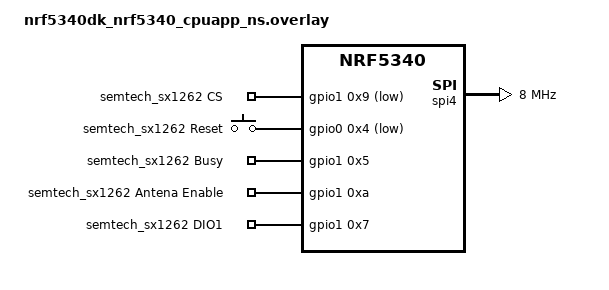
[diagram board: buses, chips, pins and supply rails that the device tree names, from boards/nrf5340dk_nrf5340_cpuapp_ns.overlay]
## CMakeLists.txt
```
#
# Copyright (c) 2023 Nordic Semiconductor ASA
#
# SPDX-License-Identifier: LicenseRef-Nordic-5-Clause
#

cmake_minimum_required(VERSION 3.20.0)

set(hci_rpmsg_KCONFIG_ROOT ${CMAKE_CURRENT_SOURCE_DIR}/child_image/hci_rpmsg/Kconfig.root)

find_package(Zephyr REQUIRED HINTS $ENV{ZEPHYR_BASE})
project(sidewalk_template)

set(SIDEWALK_BASE $ENV{ZEPHYR_BASE}/../sidewalk)

zephyr_include_directories(src)
zephyr_include_directories(${SIDEWALK_BASE}/samples/common/include)
zephyr_include_directories(${SIDEWALK_BASE}/utils)

target_sources(app PRIVATE
  src/main.c
  src/sid_dut_shell.c
  src/sid_thread.c
  ${SIDEWALK_BASE}/utils/sid_api_delegated.c
)
```

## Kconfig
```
#
# Copyright (c) 2023 Nordic Semiconductor ASA
#
# SPDX-License-Identifier: LicenseRef-Nordic-5-Clause
#

config MAIN_STACK_SIZE
    default 2048

config SIDEWALK_DUT_CLI
	bool "Enable sidewalk CLI"
  	default y
	imply SHELL

config SIDEWALK_GPIO
	default y

config SIDEWALK_SPI_BUS
	default y

config SIDEWALK_TEMPERATURE
	default y

choice SIDEWALK_LINK_MASK
	default SIDEWALK_LINK_MASK_FSK
endchoice

config SHELL_CMD_BUFF_SIZE
	default 1024

config SHELL_BACKEND_SERIAL_TX_RING_BUFFER_SIZE
	default 128

config SHELL_BACKEND_SERIAL_RX_RING_BUFFER_SIZE
	default 1024

source "${ZEPHYR_BASE}/../sidewalk/samples/common/Kconfig.defconfig"

source "Kconfig.zephyr"
```

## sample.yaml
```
sample:
  name: Sidewalk API test applicaiton
  description: Sample that uses shell to invoke sidewalk api functions
tests:
  sample.sidewalk.sid_dut:
    build_only: true
    platform_allow: nrf52840dk_nrf52840 nrf5340dk_nrf5340_cpuapp nrf5340dk_nrf5340_cpuapp_ns
    integration_platforms:
      - nrf52840dk_nrf52840
      - nrf5340dk_nrf5340_cpuapp
      - nrf5340dk_nrf5340_cpuapp_ns
    tags: Sidewalk

  functional.sidewalk.sid_dut_functional:
    platform_allow: nrf52840dk_nrf52840 nrf5340dk_nrf5340_cpuapp nrf5340dk_nrf5340_cpuapp_ns
    timeout: 6000
    harness: pytest
    harness_config:
      # Sidewalk_dut fixture require Semtech SX12XX module connected to DK,
      # and working Amazone Echo.
      fixture: AmazonEcho+Semtech
      pytest_args: ['--log-level=INFO', '--exitfirst', '-k', 'test_functional.py']
```

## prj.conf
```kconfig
#
# Copyright (c) 2023 Nordic Semiconductor ASA
#
# SPDX-License-Identifier: LicenseRef-Nordic-5-Clause
#

# Sidewalk
CONFIG_SIDEWALK=y


# This sample do not require DFU, disable it
CONFIG_SIDEWALK_DFU=n

# Logs
CONFIG_SIDEWALK_BLE_ADAPTER_LOG_LEVEL_DBG=y

CONFIG_NVS_LOG_LEVEL_WRN=y
CONFIG_LOG_PRINTK=y

# Bluetooth
CONFIG_BT_DEVICE_NAME="Sid dut"

# Debug
CONFIG_RESET_ON_FATAL_ERROR=n
CONFIG_THREAD_NAME=y
CONFIG_THREAD_MONITOR=y
CONFIG_THREAD_STACK_INFO=y

# Use HW crypto
CONFIG_HW_CC3XX=y
CONFIG_PSA_CRYPTO_DRIVER_CC3XX=y
CONFIG_MBEDTLS_HEAP_SIZE=1024

CONFIG_NVS_LOOKUP_CACHE=y
CONFIG_NVS_LOOKUP_CACHE_SIZE=1024

CONFIG_SPIN_VALIDATE=n

# Disable additional data buffering in SPI driver.
CONFIG_SPI_NRFX_RAM_BUFFER_SIZE=0

CONFIG_SIDEWALK_ON_DEV_CERT=y
```

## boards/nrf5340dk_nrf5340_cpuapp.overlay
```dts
/*
 * Copyright (c) 2023 Nordic Semiconductor ASA
 *
 * SPDX-License-Identifier: LicenseRef-Nordic-5-Clause
 */

sid_semtech: &arduino_spi {
	compatible = "nordic,nrf-spim";
	status = "okay";
	pinctrl-names = "default", "sleep";
	clock-frequency = <DT_FREQ_M(8)>;
};
```

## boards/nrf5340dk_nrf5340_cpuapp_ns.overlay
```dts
/*
 * Copyright (c) 2023 Nordic Semiconductor ASA
 *
 * SPDX-License-Identifier: LicenseRef-Nordic-5-Clause
 */

#include <zephyr/dt-bindings/ipc_service/static_vrings.h>

&ipc0 {
    zephyr,priority = <0 PRIO_COOP>;
};

 sid_semtech: &spi4 {
	compatible = "nordic,nrf-spim";
	status = "okay";
	pinctrl-0 = <&spi4_default>;
	pinctrl-1 = <&spi4_sleep>;
	pinctrl-names = "default", "sleep";
	clock-frequency = <DT_FREQ_M(8)>;
};

/{

	semtech_sx1262_gpios{
		compatible = "gpio-keys";
	   semtech_sx1262_cs: cs {
		   gpios = <&gpio1 0x9 GPIO_ACTIVE_LOW>;
		   label = "semtech_sx1262 CS";
	   };
		semtech_sx1262_reset_gpios: reset {
		   gpios = <&gpio0 0x4 GPIO_ACTIVE_LOW>;
		   label = "semtech_sx1262 Reset";
	   };
	   semtech_sx1262_busy_gpios: busy {
		   gpios = <&gpio1 0x5 GPIO_ACTIVE_HIGH>;
		   label = "semtech_sx1262 Busy";
	   };
	   semtech_sx1262_antenna_enable_gpios: antena_enable {
		   gpios = <&gpio1 0xa GPIO_ACTIVE_HIGH>;
		   label = "semtech_sx1262 Antena Enable";
	   };
	   semtech_sx1262_dio1_gpios: dio1 {
		   gpios = <&gpio1 0x7 GPIO_ACTIVE_HIGH>;
		   label = "semtech_sx1262 DIO1";
	   };
	};
};
```

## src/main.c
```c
/*
 * Copyright (c) 2023 Nordic Semiconductor ASA
 *
 * SPDX-License-Identifier: LicenseRef-Nordic-5-Clause
 */

#include <zephyr/logging/log.h>

#include <sidewalk_version.h>

#include <sid_error.h>
#include <sid_dut_shell.h>
#include <sid_thread.h>

LOG_MODULE_REGISTER(sid_main, LOG_LEVEL_INF);

int main(void)
{
	PRINT_SIDEWALK_VERSION();

	initialize_sidewalk_shell(sid_thread_get_config(), sid_thread_get_app_context());

	sid_error_t e = sid_thread_init();

	if (e != SID_ERROR_NONE) {
		LOG_ERR("sidwalk failed to initialize with error (sid_error_t) %d", e);
	}

	return 0;
}
```

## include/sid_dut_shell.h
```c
/*
 * Copyright (c) 2023 Nordic Semiconductor ASA
 *
 * SPDX-License-Identifier: LicenseRef-Nordic-4-Clause
 */

#ifndef SID_DUT_SHELL_H
#define SID_DUT_SHELL_H

#include <stdint.h>
#include <zephyr/shell/shell.h>
#include <sid_thread.h>
#include <sid_api.h>

#define CMD_SID_INIT_DESCRIPTION "<1,2,3,4,5>\n"																	    \
	"initialize the sidewalk stack, 1 is SID_LINK_TYPE_1 (BLE), 2 is SID_LINK_TYPE_2 (FSK), 3 is SID_LINK_TYPE_3 (LORA) 4 is SID_LINK_TYPE_1 | SID_LINK_TYPE_3 (BLE + LORA),  5 is SID_LINK_TYPE_1 | SID_LINK_TYPE_2 (BLE + FSK).\n" \
	"This calls the sid_init() API."

#define CMD_SID_DEINIT_DESCRIPTION "\n"	\
	"deinitialize the sidewalk stack, calls sid_deinit() API"

#define CMD_SID_START_DESCRIPTION "<link>\n"		     \
	"start the sidewalk stack, calls sid_start() API.\n" \
	"link value is optional, it can take the same values as for sid init command. If link value is not present the one set with sid init will be used to call sid_start api."

#define CMD_SID_STOP_DESCRIPTION "<link>\n"		   \
	"stop the sidewalk stack, calls sid_stop() API.\n" \
	"link value is optional, it can take the same values as for sid init command. If link value is not present the one set with sid init will be used to call sid_stop api."

#define CMD_SID_SEND_DESCRIPTION "-t <tv> -d <dv> -l <lm> -i <id> -a <ack> <retry> <ttl> -r <data>\n"												     \
	"send data over the SID_LINK_TYPE selected, calls the sid_put_msg()API.\n"														     \
	"Data field must always be placed at the end of command patametrs. If -r parameter is not preset data filed is treated as ascii. Example usage:\n"					     \
	"    - sid send TEST\n"																					     \
	"    - sid send -t 0 -d 2 TEST\n"																			     \
	"    - sid send -t 1 -d 1 -r 01AAFF02\n"																		     \
	"Optional parametrs:\n"																					     \
	"- t option force specific message type to be set in message descriptor possible <tv> values:\n"											     \
	"0 - SID_MSG_TYPE_GET\n"																				     \
	"1 - SID_MSG_TYPE_SET\n"																				     \
	"2 - SID_MSG_TYPE_NOTIFY\n"																				     \
	"3 - SID_MSG_TYPE_RESPONSE\n"																				     \
	"If -t option is not used message type in message descriptor will be set to SID_MSG_TYPE_NOTIFY.\n"											     \
	"If message type is set to RESPONSE type ID for outgoing message will be set with value that was previously received with GET type message. Or it can be set with sid set_rsp_id command.\n" \
	"- d specifies the destination\n"																			     \
	"possible <dv> values:\n"																				     \
	"1 - SID_LINK_MODE_CLOUD\n"																				     \
	"2 - SID_LINK_MODE_MOBILE\n"																				     \
	"If -d option is not used link_mode in message descriptor will be set to SID_LINK_MODE_CLOUD.\n"											     \
	"- l link mask on which message should be sent, if not set LINK_TYPE_ANY will be used\n"												     \
	"	<lm> link mask - for possible values see 'sid init' command\n"															     \
	"- i message id that needs to be used to send response. Valid only for messages of type response\n"											     \
	"	<id> response id\n"																				     \
	"- r data is interpreted hex string e.g. 010203AAFF\n"																	     \
	"- a configure parameters for transport ack:\n"																		     \
	"	<ack> - enable/disable ACK\n"																			     \
	"		1 - enable ACK\n"																			     \
	"		0 - disable ACK\n"																			     \
	"	<retry> - number of retry. 0 ~ 255\n"																		     \
	"	<ttl> - total seconds the stack holds the message in its queue. 0 ~ 65535"

#define CMD_SID_FACTORY_RESET_DESCRIPTION "\n" \
	"factory reset the board, deleting all registration status. This calls the sid_set_factory_reset() API."

#define CMD_SID_GET_MTU_DESCRIPTION "<1,2,3>\n"	\
	"get the MTU for the selected link type, 1 is SID_LINK_TYPE_1 (BLE), 2 is SID_LINK_TYPE_2 (FSK), 3 is SID_LINK_TYPE_3 (LORA). This calls the sid_get_mtu() API."

#define CMD_SID_SET_OPTION_DESCRIPTION "<option> <val1>...<valN>\n"													    \
	"Set link options. This calls the sid_option() API. Possible inputs for  \"<option> <val1>...<valN>\" are as follows:\n"					    \
	"\"-b <batlevel>\" - for setting battery level for SID_LINK_TYPE_1. Not supported for other link types.\n"							    \
	"	<batlevel> - (uint8) battery level.\n"															    \
	"\"-lp_set <val1> .. <valN>\" -  sets SID_LINK_TYPE_2 and SID_LINK_TYPE_3 (900 MHz) link profile and related parameters.\n"					    \
	"\"-lp_set 1\" - for SID_LINK2_PROFILE_1\".\n"															    \
	"\"-lp_set 2 <rx_int>\" - for SID_LINK2_PROFILE_2 with optional rx_int parameter\".\n"										    \
	"	<rx_int> Specifies DL interval between rx opportunities in units of ms. The value must be a multiple of 63ms. When ommitted the default value of 63ms is used.\n"\
	"\"-lp_set 0x80 <rxwc>\" - for SID_LINK3_PROFILE_A, where <rxwc> is the rx_window count parameter.\n"								    \
	"\"-lp_set 0x81 <rxwc>\" - for SID_LINK3_PROFILE_B, where <rxwc> is the rx_window count parameter.\n"								    \
	"\"-lp_set 0x83 <rxwc>\" - for SID_LINK3_PROFILE_D, where <rxwc> is the rx_window count parameter.\n"								    \
	"	<rxwc> - (uint8) rx window count. 0 represents infinite windows.\n"											    \
	"\"-lp_get_l2\" - Gets link profile and associated parameters for SID_LINK_TYPE_2. Ex: \"app: CMD: ERR: 0 Link_profile ID: 1 Wndw_cnt: 0\".\n"			    \
	"\"-lp_get_l3\" - Gets link profile and associated parameters for SID_LINK_TYPE_3. Ex: \"app: CMD: ERR: 0 Link_profile ID: 128 Wndw_cnt: 5\"."			    \
	"\"-d <0,1>\" - filter duplicate message.\n"															    \
	"   0 - filter duplicate message.\n"																    \
	"   1 - don't filter duplicate message and notify to user."													    \
	"\"-gd\" - Get filter duplicates configuration. Ex: \"app: CMD: ERR: 0 Filter Duplicates: 0\""

#define CMD_SID_LAST_STATUS_DESCRIPTION "\n" \
	"get last status of Sidewalk library. Result is printed in the same format as EVENT SID STATUS. This call the sid_get_status() API."

#define CMD_SID_CONN_REQUEST_DESCRIPTION "<0,1>\n"		 \
	"set the connection request bit in BLE beacon,\n"	 \
	"1 - set connection request bit\n"			 \
	"0 - clear connection request bit\n"			 \
	"This calls the sid_ble_bcn_connection_request() API.\n" \


#define CMD_SID_GET_TIME_DESCRIPTION "<0-2>\n"	      \
	"get time from Sidewalk library,\n"	      \
	"0 - GPS time\n"			      \
	"1 - UTC time (not supported by sid api)\n"   \
	"2 - Local time (not supported by sid api)\n" \
	"This calls the sid_get_time() API."

#define CMD_SID_SET_DST_ID_DESCRIPTION "<id>\n"	\
	"set message destination ID. This calls the sid_set_msg_dest_id() API."

#define CMD_SID_SET_SEND_LINK_DESCRIPTION "<link type>\n"									      \
	"set the link type that the message should be sent over. This is optional and only applies when multiple links are enabled\n" \
	"0 - SID_LINK_TYPE_ANY\n"												      \
	"1 - SID_LINK_TYPE_1 (BLE)\n"												      \
	"2 - SID_LINK_TYPE_2 (FSK)\n"												      \
	"3 - SID_LINK_TYPE_3 (LORA)"

#define CMD_SID_SET_RSP_ID_DESCRIPTION "<value>\n" \
	"allow the set ID for RESPONSE type message, this can be use before calling sid send command with message type set as RESPONSE."

#define CMD_SID_SDK_VERSION_DESCRIPTION "Print sid sdk version"

#define CMD_SID_SDK_CONFIG_DESCRIPTION "Print sid sdk config"

#define CMD_SID_INIT_ARG_REQUIRED 2
#define CMD_SID_INIT_ARG_OPTIONAL 0
#define CMD_SID_DEINIT_ARG_REQUIRED 1
#define CMD_SID_DEINIT_ARG_OPTIONAL 0
#define CMD_SID_START_ARG_REQUIRED 1
#define CMD_SID_START_ARG_OPTIONAL 1
#define CMD_SID_STOP_ARG_REQUIRED 1
#define CMD_SID_STOP_ARG_OPTIONAL 1
#define CMD_SID_SEND_ARG_REQUIRED 2
#define CMD_SID_SEND_ARG_OPTIONAL 13
#define CMD_SID_FACTORY_RESET_ARG_REQUIRED 1
#define CMD_SID_FACTORY_RESET_ARG_OPTIONAL 0
#define CMD_SID_GET_MTU_ARG_REQUIRED 2
#define CMD_SID_GET_MTU_ARG_OPTIONAL 0
#define CMD_SID_SET_OPTION_ARG_REQUIRED 2
#define CMD_SID_SET_OPTION_ARG_OPTIONAL 2
#define CMD_SID_LAST_STATUS_ARG_REQUIRED 1
#define CMD_SID_LAST_STATUS_ARG_OPTIONAL 0
#define CMD_SID_CONN_REQUEST_ARG_REQUIRED 2
#define CMD_SID_CONN_REQUEST_ARG_OPTIONAL 0
#define CMD_SID_GET_TIME_ARG_REQUIRED 2
#define CMD_SID_GET_TIME_ARG_OPTIONAL 0
#define CMD_SID_SET_DST_ID_ARG_REQUIRED 2
#define CMD_SID_SET_DST_ID_ARG_OPTIONAL 0
#define CMD_SID_SET_SEND_LINK_ARG_REQUIRED 2
#define CMD_SID_SET_SEND_LINK_ARG_OPTIONAL 0
#define CMD_SID_SET_RSP_ID_ARG_REQUIRED 2
#define CMD_SID_SET_RSP_ID_ARG_OPTIONAL 0
#define CMD_SID_SDK_VERSION_DESCRIPTION_ARG_REQUIRED 1
#define CMD_SID_SDK_VERSION_DESCRIPTION_ARG_OPTIONAL 0
#define CMD_SID_SDK_CONFIG_DESCRIPTION_ARG_REQUIRED 1
#define CMD_SID_SDK_CONFIG_DESCRIPTION_ARG_OPTIONAL 0

int cmd_sid_init(const struct shell *shell, int32_t argc, const char **argv);
int cmd_sid_deinit(const struct shell *shell, int32_t argc, const char **argv);
int cmd_sid_start(const struct shell *shell, int32_t argc, const char **argv);
int cmd_sid_stop(const struct shell *shell, int32_t argc, const char **argv);
int cmd_sid_send(const struct shell *shell, int32_t argc, const char **argv);
int cmd_sid_factory_reset(const struct shell *shell, int32_t argc, const char **argv);
int cmd_sid_get_mtu(const struct shell *shell, int32_t argc, const char **argv);

int cmd_sid_option_battery(const struct shell *shell, int32_t argc, const char **argv);
int cmd_sid_option_lp_set(const struct shell *shell, int32_t argc, const char **argv);
int cmd_sid_option_lp_get_l2(const struct shell *shell, int32_t argc, const char **argv);
int cmd_sid_option_lp_get_l3(const struct shell *shell, int32_t argc, const char **argv);
int cmd_sid_option_d(const struct shell *shell, int32_t argc, const char **argv);
int cmd_sid_option_gd(const struct shell *shell, int32_t argc, const char **argv);

int cmd_sid_last_status(const struct shell *shell, int32_t argc, const char **argv);
int cmd_sid_conn_request(const struct shell *shell, int32_t argc, const char **argv);
int cmd_sid_get_time(const struct shell *shell, int32_t argc, const char **argv);
int cmd_sid_set_dst_id(const struct shell *shell, int32_t argc, const char **argv);
int cmd_sid_set_send_link(const struct shell *shell, int32_t argc, const char **argv);
int cmd_sid_set_rsp_id(const struct shell *shell, int32_t argc, const char **argv);
int cmd_sid_sdk_version(const struct shell *shell, int32_t argc, const char **argv);
int cmd_sid_sdk_config(const struct shell *shell, int32_t argc, const char **argv);

struct cli_config {
	struct sid_config *sid_cfg;
	struct sid_handle** app_handler;
	enum sid_link_type send_link_type;
	uint16_t rsp_msg_id;
};

void initialize_sidewalk_shell(struct sid_config *sid_cfg, struct sid_handle** app_handler);

#endif /* SID_DUT_SHELL_H */
```

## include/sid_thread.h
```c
/*
 * Copyright (c) 2023 Nordic Semiconductor ASA
 *
 * SPDX-License-Identifier: LicenseRef-Nordic-4-Clause
 */
#ifndef SID_THREAD_H
#define SID_THREAD_H

#include <zephyr/kernel.h>
#include <sid_api.h>
#include <sid_error.h>

typedef struct sid_thread_ctx {
	struct k_work_q sidewalk_work_q;
	struct sid_handle *sidewalk_handle;
        struct sid_config sidewalk_config;
        struct k_work sidewalk_event_work;
}sid_thread_ctx_t;

/**
 * @brief Start Sidewalk work queue thread
 * 
 * @return struct k_work_q* work queue dedicated for Sidewalk calls
 */
struct k_work_q* sid_thread_init(void);

/**
 * @brief Get Sidewalk handler
 * 
 */
struct sid_handle** get_sidewalk_handle(void);

/**
 * @brief Get Sidewalk configuration
 * 
 */
struct sid_config *get_sidewalk_config(void);

#endif /* SID_THREAD_H */
```

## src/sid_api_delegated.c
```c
/*
 * Copyright (c) 2023 Nordic Semiconductor ASA
 *
 * SPDX-License-Identifier: LicenseRef-Nordic-5-Clause
 */

#include <zephyr/kernel.h>
#include <sid_api.h>
#include <sid_api_delegated.h>

struct sid_init_args {
	struct k_work work;
	struct k_sem completed;
	sid_error_t return_value;

	const struct sid_config *config;
	struct sid_handle **handle;
};

struct sid_deinit_args {
	struct k_work work;
	struct k_sem completed;
	sid_error_t return_value;

	struct sid_handle *handle;
};

struct sid_start_args {
	struct k_work work;
	struct k_sem completed;
	sid_error_t return_value;

	struct sid_handle *handle;
	uint32_t link_mask;
};
struct sid_stop_args {
	struct k_work work;
	struct k_sem completed;
	sid_error_t return_value;

	struct sid_handle *handle;
	uint32_t link_mask;
};

struct sid_put_msg_args {
	struct k_work work;
	struct k_sem completed;
	sid_error_t return_value;

	struct sid_handle *handle;
	const struct sid_msg *msg;
	struct sid_msg_desc *msg_desc;
};

struct sid_set_factory_reset_args {
	struct k_work work;
	struct k_sem completed;
	sid_error_t return_value;

	struct sid_handle *handle;
};

struct sid_get_mtu_args {
	struct k_work work;
	struct k_sem completed;
	sid_error_t return_value;

	struct sid_handle *handle;
	enum sid_link_type link_type;
	size_t *mtu;
};

struct sid_get_status_args {
	struct k_work work;
	struct k_sem completed;
	sid_error_t return_value;

	struct sid_handle *handle;
	struct sid_status *current_status;
};

struct sid_ble_bcn_connection_request_args {
	struct k_work work;
	struct k_sem completed;
	sid_error_t return_value;

	struct sid_handle *handle;
	bool set;
};

struct sid_get_time_args {
	struct k_work work;
	struct k_sem completed;
	sid_error_t return_value;

	struct sid_handle *handle;
	enum sid_time_format format;
	struct sid_timespec *curr_time;
};

struct sid_set_msg_dest_id_args {
	struct k_work work;
	struct k_sem completed;
	sid_error_t return_value;

	struct sid_handle *handle;
	uint32_t id;
};

struct sid_option_args {
	struct k_work work;
	struct k_sem completed;
	sid_error_t return_value;

	struct sid_handle *handle;
	enum sid_option option;
	void *data;
	size_t len;
};

struct sid_api_ctx {
	struct k_work_q *workq;

	struct sid_init_args sid_init_ctx;
	struct sid_deinit_args sid_deinit_ctx;
	struct sid_start_args sid_start_ctx;
	struct sid_stop_args sid_stop_ctx;
	struct sid_put_msg_args sid_put_msg_ctx;
	struct sid_set_factory_reset_args sid_set_factory_reset_ctx;
	struct sid_get_mtu_args sid_get_mtu_ctx;
	struct sid_get_status_args sid_get_status_ctx;
	struct sid_ble_bcn_connection_request_args sid_ble_bcn_connection_request_ctx;
	struct sid_get_time_args sid_get_time_ctx;
	struct sid_set_msg_dest_id_args sid_set_msg_dest_id_ctx;
	struct sid_option_args sid_option_ctx;
};

static struct sid_api_ctx ctx;

static void sid_init_delegated_work(struct k_work *work)
{
	struct sid_init_args *arguments = CONTAINER_OF(work, struct sid_init_args, work);

	arguments->return_value = sid_init(arguments->config, arguments->handle);
	k_sem_give(&arguments->completed);
}

static void sid_deinit_delegated_work(struct k_work *work)
{
	struct sid_deinit_args *arguments = CONTAINER_OF(work, struct sid_deinit_args, work);

	arguments->return_value = sid_deinit(arguments->handle);
	k_sem_give(&arguments->completed);
}

static void sid_start_delegated_work(struct k_work *work)
{
	struct sid_start_args *arguments = CONTAINER_OF(work, struct sid_start_args, work);

	arguments->return_value = sid_start(arguments->handle, arguments->link_mask);
	k_sem_give(&arguments->completed);
}

static void sid_stop_delegated_work(struct k_work *work)
{
	struct sid_stop_args *arguments = CONTAINER_OF(work, struct sid_stop_args, work);

	arguments->return_value = sid_stop(arguments->handle, arguments->link_mask);
	k_sem_give(&arguments->completed);
}

static void sid_put_msg_delegated_work(struct k_work *work)
{
	struct sid_put_msg_args *arguments = CONTAINER_OF(work, struct sid_put_msg_args, work);

	arguments->return_value =
		sid_put_msg(arguments->handle, arguments->msg, arguments->msg_desc);
	k_sem_give(&arguments->completed);
}

static void sid_set_factory_reset_delegated_work(struct k_work *work)
{
	struct sid_set_factory_reset_args *arguments =
		CONTAINER_OF(work, struct sid_set_factory_reset_args, work);

	arguments->return_value = sid_set_factory_reset(arguments->handle);
	k_sem_give(&arguments->completed);
}

static void sid_get_mtu_delegated_work(struct k_work *work)
{
	struct sid_get_mtu_args *arguments = CONTAINER_OF(work, struct sid_get_mtu_args, work);

	arguments->return_value =
		sid_get_mtu(arguments->handle, arguments->link_type, arguments->mtu);
	k_sem_give(&arguments->completed);
}

static void sid_get_status_delegated_work(struct k_work *work)
{
	struct sid_get_status_args *arguments =
		CONTAINER_OF(work, struct sid_get_status_args, work);

	arguments->return_value = sid_get_status(arguments->handle, arguments->current_status);
	k_sem_give(&arguments->completed);
}

static void sid_ble_bcn_connection_request_delegated_work(struct k_work *work)
{
	struct sid_ble_bcn_connection_request_args *arguments =
		CONTAINER_OF(work, struct sid_ble_bcn_connection_request_args, work);

	arguments->return_value = sid_ble_bcn_connection_request(arguments->handle, arguments->set);
	k_sem_give(&arguments->completed);
}

static void sid_get_time_delegated_work(struct k_work *work)
{
	struct sid_get_time_args *arguments = CONTAINER_OF(work, struct sid_get_time_args, work);

	arguments->return_value =
		sid_get_time(arguments->handle, arguments->format, arguments->curr_time);
	k_sem_give(&arguments->completed);
}

static void sid_set_msg_dest_id_delegated_work(struct k_work *work)
{
	struct sid_set_msg_dest_id_args *arguments =
		CONTAINER_OF(work, struct sid_set_msg_dest_id_args, work);

	arguments->return_value = sid_set_msg_dest_id(arguments->handle, arguments->id);
	k_sem_give(&arguments->completed);
}

static void sid_option_delegated_work(struct k_work *work)
{
	struct sid_option_args *arguments = CONTAINER_OF(work, struct sid_option_args, work);

	arguments->return_value =
		sid_option(arguments->handle, arguments->option, arguments->data, arguments->len);
	k_sem_give(&arguments->completed);
}

///////////////////////////////////////////////////////////////////////////////

sid_error_t sid_init_delegated(const struct sid_config *config, struct sid_handle **handle)
{
	while (k_work_busy_get(&ctx.sid_init_ctx.work) != 0) {
		k_sleep(K_MSEC(1));
	}
	ctx.sid_init_ctx.config = config;
	ctx.sid_init_ctx.handle = handle;
	k_work_submit_to_queue(ctx.workq, &ctx.sid_init_ctx.work);
	k_sem_take(&ctx.sid_init_ctx.completed, K_FOREVER);
	return ctx.sid_init_ctx.return_value;
}

sid_error_t sid_deinit_delegated(struct sid_handle *handle)
{
	while (k_work_busy_get(&ctx.sid_deinit_ctx.work) != 0) {
		k_sleep(K_MSEC(1));
	}

	ctx.sid_deinit_ctx.handle = handle;
	k_work_submit_to_queue(ctx.workq, &ctx.sid_deinit_ctx.work);
	k_sem_take(&ctx.sid_deinit_ctx.completed, K_FOREVER);
	return ctx.sid_deinit_ctx.return_value;
}

sid_error_t sid_start_delegated(struct sid_handle *handle, uint32_t link_mask)
{
	while (k_work_busy_get(&ctx.sid_start_ctx.work) != 0) {
		k_sleep(K_MSEC(1));
	}

	ctx.sid_start_ctx.handle = handle;
	ctx.sid_start_ctx.link_mask = link_mask;
	k_work_submit_to_queue(ctx.workq, &ctx.sid_start_ctx.work);
	k_sem_take(&ctx.sid_start_ctx.completed, K_FOREVER);
	return ctx.sid_start_ctx.return_value;
}

sid_error_t sid_stop_delegated(struct sid_handle *handle, uint32_t link_mask)
{
	while (k_work_busy_get(&ctx.sid_stop_ctx.work) != 0) {
		k_sleep(K_MSEC(1));
	}

	ctx.sid_stop_ctx.handle = handle;
	ctx.sid_stop_ctx.link_mask = link_mask;
	k_work_submit_to_queue(ctx.workq, &ctx.sid_stop_ctx.work);
	k_sem_take(&ctx.sid_stop_ctx.completed, K_FOREVER);
	return ctx.sid_stop_ctx.return_value;
}

sid_error_t sid_put_msg_delegated(struct sid_handle *handle, const struct sid_msg *msg,
				  struct sid_msg_desc *msg_desc)
{
	while (k_work_busy_get(&ctx.sid_put_msg_ctx.work) != 0) {
		k_sleep(K_MSEC(1));
	}

	ctx.sid_put_msg_ctx.handle = handle;
	ctx.sid_put_msg_ctx.msg = msg;
	ctx.sid_put_msg_ctx.msg_desc = msg_desc;
	k_work_submit_to_queue(ctx.workq, &ctx.sid_put_msg_ctx.work);
	k_sem_take(&ctx.sid_put_msg_ctx.completed, K_FOREVER);
	return ctx.sid_put_msg_ctx.return_value;
}

sid_error_t sid_set_factory_reset_delegated(struct sid_handle *handle)
{
	while (k_work_busy_get(&ctx.sid_set_factory_reset_ctx.work) != 0) {
		k_sleep(K_MSEC(1));
	}

	ctx.sid_set_factory_reset_ctx.handle = handle;
	k_work_submit_to_queue(ctx.workq, &ctx.sid_set_factory_reset_ctx.work);
	k_sem_take(&ctx.sid_set_factory_reset_ctx.completed, K_FOREVER);
	return ctx.sid_set_factory_reset_ctx.return_value;
}

sid_error_t sid_get_mtu_delegated(struct sid_handle *handle, enum sid_link_type link_type,
				  size_t *mtu)
{
	while (k_work_busy_get(&ctx.sid_get_mtu_ctx.work) != 0) {
		k_sleep(K_MSEC(1));
	}

	ctx.sid_get_mtu_ctx.handle = handle;
	ctx.sid_get_mtu_ctx.link_type = link_type;
	ctx.sid_get_mtu_ctx.mtu = mtu;
	k_work_submit_to_queue(ctx.workq, &ctx.sid_get_mtu_ctx.work);
	k_sem_take(&ctx.sid_get_mtu_ctx.completed, K_FOREVER);
	return ctx.sid_get_mtu_ctx.return_value;
}

sid_error_t sid_get_status_delegated(struct sid_handle *handle, struct sid_status *current_status)
{
	while (k_work_busy_get(&ctx.sid_get_status_ctx.work) != 0) {
		k_sleep(K_MSEC(1));
	}

	ctx.sid_get_status_ctx.handle = handle;
	ctx.sid_get_status_ctx.current_status = current_status;
	k_work_submit_to_queue(ctx.workq, &ctx.sid_get_status_ctx.work);
	k_sem_take(&ctx.sid_get_status_ctx.completed, K_FOREVER);
	return ctx.sid_get_status_ctx.return_value;
}

sid_error_t sid_ble_bcn_connection_request_delegated(struct sid_handle *handle, bool set)
{
	while (k_work_busy_get(&ctx.sid_ble_bcn_connection_request_ctx.work) != 0) {
		k_sleep(K_MSEC(1));
	}

	ctx.sid_ble_bcn_connection_request_ctx.handle = handle;
	ctx.sid_ble_bcn_connection_request_ctx.set = set;
	k_work_submit_to_queue(ctx.workq, &ctx.sid_ble_bcn_connection_request_ctx.work);
	k_sem_take(&ctx.sid_ble_bcn_connection_request_ctx.completed, K_FOREVER);
	return ctx.sid_ble_bcn_connection_request_ctx.return_value;
}

sid_error_t sid_get_time_delegated(struct sid_handle *handle, enum sid_time_format format,
				   struct sid_timespec *curr_time)
{
	while (k_work_busy_get(&ctx.sid_get_time_ctx.work) != 0) {
		k_sleep(K_MSEC(1));
	}

	ctx.sid_get_time_ctx.handle = handle;
	ctx.sid_get_time_ctx.format = format;
	ctx.sid_get_time_ctx.curr_time = curr_time;
	k_work_submit_to_queue(ctx.workq, &ctx.sid_get_time_ctx.work);
	k_sem_take(&ctx.sid_get_time_ctx.completed, K_FOREVER);
	return ctx.sid_get_time_ctx.return_value;
}

sid_error_t sid_set_msg_dest_id_delegated(struct sid_handle *handle, uint32_t id)
{
	while (k_work_busy_get(&ctx.sid_set_msg_dest_id_ctx.work) != 0) {
		k_sleep(K_MSEC(1));
	}

	ctx.sid_set_msg_dest_id_ctx.handle = handle;
	ctx.sid_set_msg_dest_id_ctx.id = id;
	k_work_submit_to_queue(ctx.workq, &ctx.sid_set_msg_dest_id_ctx.work);
	k_sem_take(&ctx.sid_set_msg_dest_id_ctx.completed, K_FOREVER);
	return ctx.sid_set_msg_dest_id_ctx.return_value;
}

sid_error_t sid_option_delegated(struct sid_handle *handle, enum sid_option option, void *data,
				 size_t len)
{
	while (k_work_busy_get(&ctx.sid_option_ctx.work) != 0) {
		k_sleep(K_MSEC(1));
	}

	ctx.sid_option_ctx.handle = handle;
	ctx.sid_option_ctx.option = option;
	ctx.sid_option_ctx.data = data;
	ctx.sid_option_ctx.len = len;
	k_work_submit_to_queue(ctx.workq, &ctx.sid_option_ctx.work);
	k_sem_take(&ctx.sid_option_ctx.completed, K_FOREVER);
	return ctx.sid_option_ctx.return_value;
}

void sid_api_delegated(struct k_work_q *workq)
{
	ctx.workq = workq;

	k_sem_init(&ctx.sid_init_ctx.completed, 0, 1);
	k_work_init(&ctx.sid_init_ctx.work, sid_init_delegated_work);
	k_sem_init(&ctx.sid_deinit_ctx.completed, 0, 1);
	k_work_init(&ctx.sid_deinit_ctx.work, sid_deinit_delegated_work);
	k_sem_init(&ctx.sid_start_ctx.completed, 0, 1);
	k_work_init(&ctx.sid_start_ctx.work, sid_start_delegated_work);
	k_sem_init(&ctx.sid_stop_ctx.completed, 0, 1);
	k_work_init(&ctx.sid_stop_ctx.work, sid_stop_delegated_work);
	k_sem_init(&ctx.sid_put_msg_ctx.completed, 0, 1);
	k_work_init(&ctx.sid_put_msg_ctx.work, sid_put_msg_delegated_work);
	k_sem_init(&ctx.sid_set_factory_reset_ctx.completed, 0, 1);
	k_work_init(&ctx.sid_set_factory_reset_ctx.work, sid_set_factory_reset_delegated_work);
	k_sem_init(&ctx.sid_get_mtu_ctx.completed, 0, 1);
	k_work_init(&ctx.sid_get_mtu_ctx.work, sid_get_mtu_delegated_work);
	k_sem_init(&ctx.sid_get_status_ctx.completed, 0, 1);
	k_work_init(&ctx.sid_get_status_ctx.work, sid_get_status_delegated_work);
	k_sem_init(&ctx.sid_ble_bcn_connection_request_ctx.completed, 0, 1);
	k_work_init(&ctx.sid_ble_bcn_connection_request_ctx.work,
		    sid_ble_bcn_connection_request_delegated_work);
	k_sem_init(&ctx.sid_get_time_ctx.completed, 0, 1);
	k_work_init(&ctx.sid_get_time_ctx.work, sid_get_time_delegated_work);
	k_sem_init(&ctx.sid_set_msg_dest_id_ctx.completed, 0, 1);
	k_work_init(&ctx.sid_set_msg_dest_id_ctx.work, sid_set_msg_dest_id_delegated_work);
	k_sem_init(&ctx.sid_option_ctx.completed, 0, 1);
	k_work_init(&ctx.sid_option_ctx.work, sid_option_delegated_work);
}
```

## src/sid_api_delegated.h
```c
/*
 * Copyright (c) 2023 Nordic Semiconductor ASA
 *
 * SPDX-License-Identifier: LicenseRef-Nordic-5-Clause
 */
#ifndef SID_API_DELEGATED_H
#define SID_API_DELEGATED_H
#include <sid_api.h>
#include <zephyr/kernel.h>

sid_error_t sid_init_delegated(const struct sid_config *config, struct sid_handle **handle);
sid_error_t sid_deinit_delegated(struct sid_handle *handle);
sid_error_t sid_start_delegated(struct sid_handle *handle, uint32_t link_mask);
sid_error_t sid_stop_delegated(struct sid_handle *handle, uint32_t link_mask);
sid_error_t sid_put_msg_delegated(struct sid_handle *handle, const struct sid_msg *msg,
				  struct sid_msg_desc *msg_desc);
sid_error_t sid_set_factory_reset_delegated(struct sid_handle *handle);
sid_error_t sid_get_mtu_delegated(struct sid_handle *handle, enum sid_link_type link_type,
				  size_t *mtu);
sid_error_t sid_get_status_delegated(struct sid_handle *handle, struct sid_status *current_status);
sid_error_t sid_ble_bcn_connection_request_delegated(struct sid_handle *handle, bool set);
sid_error_t sid_get_time_delegated(struct sid_handle *handle, enum sid_time_format format,
				   struct sid_timespec *curr_time);
sid_error_t sid_set_msg_dest_id_delegated(struct sid_handle *handle, uint32_t id);
sid_error_t sid_option_delegated(struct sid_handle *handle, enum sid_option option, void *data,
				 size_t len);

void sid_api_delegated(struct k_work_q *workq);

#endif /* SID_API_DELEGATED_H */
```

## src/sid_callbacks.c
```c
/*
 * Copyright (c) 2023 Nordic Semiconductor ASA
 *
 * SPDX-License-Identifier: LicenseRef-Nordic-4-Clause
 */

#include <sid_api.h>

#include <sid_callbacks.h>
#include <sid_thread.h>

#include <zephyr/kernel.h>
#include <zephyr/logging/log.h>

LOG_MODULE_REGISTER(sid_callbacks, CONFIG_SID_THREAD_LOG_LEVEL);
// ////////////////////////////////////////////////////////////////////////////

static void sidewalk_event_worker(struct k_work *work)
{
	sid_thread_ctx_t *ctx = CONTAINER_OF(work, sid_thread_ctx_t, sidewalk_event_work);

	sid_error_t e = sid_process(ctx->sidewalk_handle);

	if (e != SID_ERROR_NONE) {
		LOG_ERR("sid process failed with error %d", e);
	}
}

// ////////////////////////////////////////////////////////////////////////////
static void on_sidewalk_event(bool in_isr, void *context)
{
	ARG_UNUSED(in_isr);
	sid_thread_ctx_t *ctx = (sid_thread_ctx_t *)context;

	if (ctx->sidewalk_event_work.handler == NULL) {
		k_work_init(&ctx->sidewalk_event_work, sidewalk_event_worker);
	}
	k_work_submit_to_queue(&ctx->sidewalk_work_q, &ctx->sidewalk_event_work);
}

static void on_sidewalk_msg_received(const struct sid_msg_desc *msg_desc, const struct sid_msg *msg, void *context)
{
	LOG_DBG("Sidewalk -> App");
	LOG_HEXDUMP_INF((uint8_t *)msg->data, msg->size, "Message data: ");
}

static void on_sidewalk_msg_sent(const struct sid_msg_desc *msg_desc, void *context)
{
	LOG_DBG("Sidewalk -> App");
}

static void on_sidewalk_send_error(sid_error_t error, const struct sid_msg_desc *msg_desc, void *context)
{
	LOG_DBG("Sidewalk -> App: error %d", error);
}

static void on_sidewalk_factory_reset(void *context)
{
	LOG_DBG("Sidewalk -> App");
}

static void on_sidewalk_status_changed(const struct sid_status *status, void *context)
{
	sid_thread_ctx_t *app_context = (sid_thread_ctx_t *)context;

	switch (status->state) {
	case SID_STATE_READY:
		LOG_INF("Sidewalk status changed to SID_STATE_READY");
		break;
	case SID_STATE_NOT_READY:
		LOG_INF("Sidewalk status changed to SID_STATE_NOT_READY");
		break;
	case SID_STATE_ERROR:
		if (app_context->sidewalk_handle) {
			LOG_ERR("sidewalk error: %d", (int)sid_get_error(app_context->sidewalk_handle));
		} else {
			LOG_ERR("sidewalk error: handle NULL");
		}
		break;
	case SID_STATE_SECURE_CHANNEL_READY:
		LOG_INF("Sidewalk status changed to SID_STATE_SECURE_CHANNEL_READY");
		break;
	}

	LOG_INF("EVENT SID STATUS: State: %d, Reg: %d, Time: %d, Link_Mask: %x",
		status->state,
		status->detail.registration_status,
		status->detail.time_sync_status,
		status->detail.link_status_mask);
	LOG_INF("EVENT SID STATUS LINK MODE: LORA: %x, FSK: %x, BLE: %x",
		status->detail.supported_link_modes[2],
		status->detail.supported_link_modes[1],
		status->detail.supported_link_modes[0]);
}

// ////////////////////////////////////////////////////////////////////////////

int sid_callbacks_set(void *ctx, struct sid_event_callbacks *cb)
{
	if (!cb || !ctx) {
		return -1;
	}

	cb->context = ctx;
	cb->on_event = on_sidewalk_event;                               /* Called from ISR context */
	cb->on_msg_received = on_sidewalk_msg_received;                 /* Called from sid_process() */
	cb->on_msg_sent = on_sidewalk_msg_sent;                         /* Called from sid_process() */
	cb->on_send_error = on_sidewalk_send_error;                     /* Called from sid_process() */
	cb->on_status_changed = on_sidewalk_status_changed;             /* Called from sid_process() */
	cb->on_factory_reset = on_sidewalk_factory_reset;               /* Called from sid_process() */

	return 0;
}
```

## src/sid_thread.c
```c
/*
 * Copyright (c) 2023 Nordic Semiconductor ASA
 *
 * SPDX-License-Identifier: LicenseRef-Nordic-5-Clause
 */

#include "sid_error.h"
#include "zephyr/sys/printk.h"
#include <stdbool.h>
#include <stdio.h>
#include <zephyr/kernel.h>
#include <zephyr/logging/log.h>
#include <zephyr/storage/flash_map.h>

#include <sid_thread.h>
#include <sid_api_delegated.h>

#include <pal_init.h>
#include <sid_api.h>
#include <sid_ble_link_config_ifc.h>
#include <sid_pal_mfg_store_ifc.h>
#include <sid_pal_storage_kv_ifc.h>
#include <sid_pal_crypto_ifc.h>
#include <app_ble_config.h>

#if defined(CONFIG_SIDEWALK_SUBGHZ)
#include <app_subGHz_config.h>
#include <sx126x_config.h>
#include <sid_pal_gpio_ifc.h>
#include <sid_900_cfg.h>
#include <sid_pal_serial_bus_ifc.h>
#include <sid_pal_serial_bus_spi_config.h>
#endif

#include <zephyr/shell/shell.h>
#include <json_printer.h>
#include <sidTypes2Json.h>

#if !FIXED_PARTITION_EXISTS(mfg_storage)
#error "Flash partition is not defined for the Sidewalk manufacturing storage!!"
#endif

LOG_MODULE_REGISTER(sid_thread, LOG_LEVEL_DBG);

K_THREAD_STACK_DEFINE(sidewalk_dut_work_q_stack, SIDEWALK_DUT_WORK_Q_STACK_SIZE);

static void sidewalk_event_worker(struct k_work *work);
static void on_sidewalk_event(bool in_isr, void *context);
static void on_sidewalk_msg_received(const struct sid_msg_desc *msg_desc, const struct sid_msg *msg,
				     void *context);
static void on_sidewalk_msg_sent(const struct sid_msg_desc *msg_desc, void *context);
static void on_sidewalk_send_error(sid_error_t error, const struct sid_msg_desc *msg_desc,
				   void *context);
static void on_sidewalk_factory_reset(void *context);
static void on_sidewalk_status_changed(const struct sid_status *status, void *context);
static void on_control_event_notify(const struct sid_control_event_data *data, void *context);

// ////////////////////////////////////////////////////////////////////////////

static struct k_work_q sidewalk_dut_work_q;

static struct sid_handle *sid_handle = NULL;

static struct app_context g_app_context = {
	.sidewalk_handle = &sid_handle,
};

static struct sid_event_callbacks event_callbacks = {
	.context = &g_app_context,
	.on_event = on_sidewalk_event, /* Called from ISR context */
	.on_msg_received = on_sidewalk_msg_received, /* Called from sid_process() */
	.on_msg_sent = on_sidewalk_msg_sent, /* Called from sid_process() */
	.on_send_error = on_sidewalk_send_error, /* Called from sid_process() */
	.on_status_changed = on_sidewalk_status_changed, /* Called from sid_process() */
	.on_factory_reset = on_sidewalk_factory_reset, /* Called from sid_process */
	.on_control_event_notify = on_control_event_notify,
};

static struct sid_config config;

// ////////////////////////////////////////////////////////////////////////////

static void sidewalk_event_worker(struct k_work *work)
{
	struct app_context *app_ctx = CONTAINER_OF(work, struct app_context, sidewalk_event_work);

	sid_error_t e = sid_process(*app_ctx->sidewalk_handle);

	if (e != SID_ERROR_NONE) {
		LOG_ERR("sid process failed with error %d", e);
	}
}

static void on_sidewalk_event(bool in_isr, void *context)
{
	struct app_context *ctx = (struct app_context *)context;

	if (ctx->sidewalk_event_work.handler == NULL) {
		k_work_init(&ctx->sidewalk_event_work, sidewalk_event_worker);
	}
	k_work_submit_to_queue(&sidewalk_dut_work_q, &ctx->sidewalk_event_work);
}

static void on_sidewalk_msg_received(const struct sid_msg_desc *msg_desc, const struct sid_msg *msg,
				     void *context)
{
	struct app_context *ctx = (struct app_context *)context;
	shell_fprintf(ctx->shell, SHELL_NORMAL,
		      JSON_NEW_LINE(JSON_OBJ(JSON_NAME(
			      "on_msg_received",
			      JSON_OBJ(JSON_VAL_sid_msg_desc("sid_msg_desc", msg_desc, 1))))));
	LOG_DBG("Sidewalk -> App");
	LOG_HEXDUMP_INF(msg->data, msg->size, "");
}

static void on_sidewalk_msg_sent(const struct sid_msg_desc *msg_desc, void *context)
{
	struct app_context *ctx = (struct app_context *)context;
	shell_fprintf(ctx->shell, SHELL_NORMAL,
		      JSON_NEW_LINE(JSON_OBJ(JSON_NAME(
			      "on_msg_sent",
			      JSON_OBJ(JSON_VAL_sid_msg_desc("sid_msg_desc", msg_desc, 0))))));
	LOG_DBG("Sidewalk -> App");
}

static void on_sidewalk_send_error(sid_error_t error, const struct sid_msg_desc *msg_desc,
				   void *context)
{
	struct app_context *ctx = (struct app_context *)context;
	shell_fprintf(ctx->shell, SHELL_NORMAL,
		      JSON_NEW_LINE(JSON_OBJ(JSON_NAME(
			      "on_send_error",
			      JSON_OBJ(JSON_LIST_2(JSON_VAL_sid_error_t("error", error),
						   JSON_VAL_sid_msg_desc("sid_msg_desc", msg_desc,
									 0)))))));
	LOG_DBG("Sidewalk -> App: error %d", error);
}

static void on_sidewalk_factory_reset(void *context)
{
	LOG_DBG("Sidewalk -> App");
}

static void on_sidewalk_status_changed(const struct sid_status *status, void *context)
{
	struct app_context *app_context = (struct app_context *)context;

	switch (status->state) {
	case SID_STATE_READY:
		LOG_INF("Sidewalk status changed to SID_STATE_READY");
		break;
	case SID_STATE_NOT_READY:
		LOG_INF("Sidewalk status changed to SID_STATE_NOT_READY");
		break;
	case SID_STATE_ERROR:
		if (*app_context->sidewalk_handle) {
			LOG_ERR("sidewalk error: %d",
				(int)sid_get_error(*app_context->sidewalk_handle));
		} else {
			LOG_ERR("sidewalk error: handle NULL");
		}
		break;
	case SID_STATE_SECURE_CHANNEL_READY:
		LOG_INF("Sidewalk status changed to SID_STATE_SECURE_CHANNEL_READY");
		break;
	}

	LOG_INF("EVENT SID STATUS: State: %d, Reg: %d, Time: %d, Link_Mask: %x", status->state,
		status->detail.registration_status, status->detail.time_sync_status,
		status->detail.link_status_mask);
	LOG_INF("EVENT SID STATUS LINK MODE: LORA: %x, FSK: %x, BLE: %x",
		status->detail.supported_link_modes[2], status->detail.supported_link_modes[1],
		status->detail.supported_link_modes[0]);
}

static void on_control_event_notify(const struct sid_control_event_data *data, void *context)
{
	struct app_context *app_context = (struct app_context *)context;
	if (data == NULL || data->event_data == NULL) {
		shell_fprintf(app_context->shell, SHELL_NORMAL,
			      "on_control_event_notify called with invalid data");
		return;
	}
	shell_fprintf(app_context->shell, SHELL_NORMAL,
		      JSON_NEW_LINE(JSON_OBJ(JSON_NAME(
			      "on_control_event_notify",
			      JSON_OBJ(JSON_VAL_sid_control_event_data_t("data", data))))));
}

sid_error_t sid_thread_init(void)
{
	k_work_queue_init(&sidewalk_dut_work_q);
	static struct k_work_queue_config cfg = { .name = "sidewalk_thread", .no_yield = false };

	k_work_queue_start(&sidewalk_dut_work_q, sidewalk_dut_work_q_stack,
			   K_THREAD_STACK_SIZEOF(sidewalk_dut_work_q_stack),
			   CONFIG_SIDEWALK_THREAD_PRIORITY, &cfg);
	sid_api_delegated(&sidewalk_dut_work_q);

	config = (struct sid_config)
	{
		.callbacks = &event_callbacks, .link_config = app_get_ble_config(),
		.time_sync_periodicity_seconds = 7200,
#if defined(CONFIG_SIDEWALK_SUBGHZ)
		.sub_ghz_link_config = app_get_sub_ghz_config(),
#else
		.sub_ghz_link_config = NULL,
#endif
	};

	return application_pal_init();
}

struct sid_config *sid_thread_get_config()
{
	return &config;
}

struct app_context *sid_thread_get_app_context()
{
	return &g_app_context;
}
```

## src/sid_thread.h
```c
/*
 * Copyright (c) 2023 Nordic Semiconductor ASA
 *
 * SPDX-License-Identifier: LicenseRef-Nordic-5-Clause
 */
#ifndef SID_THREAD_H
#define SID_THREAD_H

#include <zephyr/kernel.h>
#include <sid_error.h>
#include <zephyr/shell/shell.h>

#define SIDEWALK_DUT_WORK_Q_STACK_SIZE KB(10)

struct app_context {
	struct sid_handle **sidewalk_handle;
	struct k_work sidewalk_event_work;
	const struct shell *shell;
};

sid_error_t sid_thread_init(void);
struct sid_config *sid_thread_get_config();
struct app_context *sid_thread_get_app_context();

#endif /* SID_THREAD_H */
```
